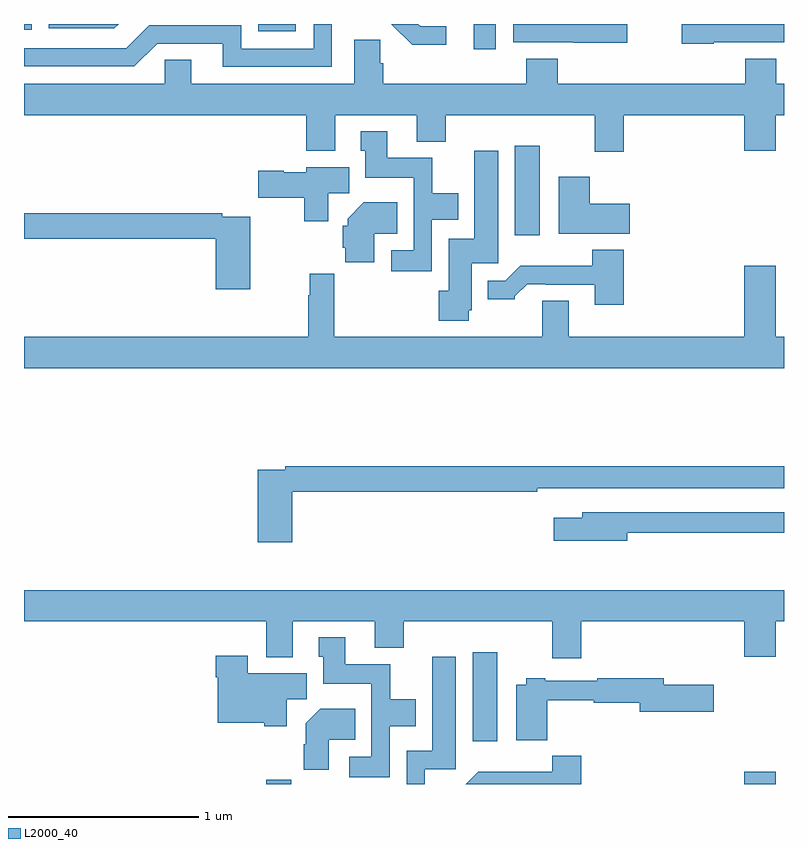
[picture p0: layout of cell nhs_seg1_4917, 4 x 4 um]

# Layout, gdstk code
import gdstk
lib = gdstk.Library(unit=1e-6, precision=1e-09)
def R(c, l, rs):  # rectangles x0, y0, x1, y1
    for r in rs: c.add(gdstk.rectangle(r[:2], r[2:], *l))
def P(c, l, *ps):  # polygons
    for p in ps: c.add(gdstk.Polygon(p, *l))
L2000_40 = (2000, 40)

nhs_seg1_4917 = lib.new_cell('nhs_seg1_4917')
R(nhs_seg1_4917, L2000_40, [(378.274,560.199,378.406,560.221), (380.792,560.199,380.956,560.263), (379.361,560.424,379.492,560.893), (379.583,563.088,379.714,563.557), (379.367,564.066,379.482,564.199), (378.232,564.161,378.43,564.199), (377,564.168,377.04,564.199)])
P(nhs_seg1_4917, L2000_40, [(379.222,564.186),(379.087,564.186),(379.074,564.199),(378.932,564.199),(379.043,564.089),(379.222,564.089)],
  [(380.631,564.102),(381,564.102),(381,564.199),(380.931,564.199),(380.931,564.198),(380.571,564.198),(380.571,564.199),(380.463,564.199),(380.463,564.095),(380.631,564.095)],
  [(380.176,564.199),(380.067,564.199),(380.067,564.198),(379.671,564.198),(379.671,564.199),(379.575,564.199),(379.575,564.102),(379.891,564.102),(379.891,564.101),(380.176,564.101)],
  [(378.621,564.199),(378.525,564.199),(378.525,564.069),(378.144,564.069),(378.144,564.192),(377.658,564.192),(377.538,564.072),(377,564.072),(377,563.976),(377.58,563.976),(377.7,564.096),(378.047,564.096),(378.047,563.973),(378.621,563.973)],
  [(377.498,564.199),(377.13,564.199),(377.13,564.177),(377.476,564.177)],
  [(380.156,563.72),(380.792,563.72),(380.792,563.532),(380.956,563.532),(380.956,563.72),(381,563.72),(381,563.884),(380.96,563.884),(380.96,564.017),(380.795,564.017),(380.795,563.884),(379.808,563.884),(379.808,564.017),(379.643,564.017),(379.643,563.884),(378.89,563.884),(378.89,563.993),(378.876,563.993),(378.876,564.116),(378.737,564.116),(378.737,563.884),(377.881,563.884),(377.881,564.011),(377.742,564.011),(377.742,563.884),(377,563.884),(377,563.72),(378.485,563.72),(378.485,563.531),(378.637,563.531),(378.637,563.72),(379.067,563.72),(379.067,563.579),(379.22,563.579),(379.22,563.72),(380.003,563.72),(380.003,563.526),(380.156,563.526)],
  [(379.146,563.168),(379.285,563.168),(379.285,563.308),(379.149,563.308),(379.149,563.494),(378.913,563.494),(378.913,563.635),(378.773,563.635),(378.773,563.532),(378.797,563.532),(378.797,563.39),(379.05,563.39),(379.05,563.007),(378.933,563.007),(378.933,562.899),(379.146,562.899)],
  [(379.341,562.692),(379.357,562.692),(379.357,562.941),(379.495,562.941),(379.495,563.533),(379.37,563.533),(379.37,563.068),(379.235,563.068),(379.235,562.794),(379.184,562.794),(379.184,562.638),(379.341,562.638)],
  [(378.601,563.308),(378.712,563.308),(378.712,563.446),(378.486,563.446),(378.486,563.419),(378.366,563.419),(378.366,563.427),(378.234,563.427),(378.234,563.285),(378.475,563.285),(378.475,563.16),(378.601,563.16)],
  [(380.188,563.254),(379.978,563.254),(379.978,563.395),(379.814,563.395),(379.814,563.096),(380.188,563.096)],
  [(378.844,563.096),(378.965,563.096),(378.965,563.26),(378.789,563.26),(378.704,563.175),(378.704,563.136),(378.678,563.136),(378.678,563.022),(378.692,563.022),(378.692,562.946),(378.844,562.946)],
  [(378.191,563.184),(378.044,563.184),(378.044,563.204),(377,563.204),(377,563.068),(378.008,563.068),(378.008,562.803),(378.191,562.803)],
  [(380.156,563.011),(379.991,563.011),(379.991,562.927),(379.612,562.927),(379.533,562.848),(379.442,562.848),(379.442,562.751),(379.584,562.751),(379.584,562.766),(379.648,562.83),(379.747,562.83),(379.747,562.827),(380.003,562.827),(380.003,562.722),(380.156,562.722)],
  [(381,562.552),(380.956,562.552),(380.956,562.927),(380.792,562.927),(380.792,562.552),(379.867,562.552),(379.867,562.742),(379.727,562.742),(379.727,562.552),(378.632,562.552),(378.632,562.885),(378.504,562.885),(378.504,562.772),(378.496,562.772),(378.496,562.552),(377,562.552),(377,562.388),(381,562.388)],
  [(378.413,561.736),(379.7,561.736),(379.7,561.756),(381,561.756),(381,561.872),(378.376,561.872),(378.376,561.852),(378.23,561.852),(378.23,561.471),(378.413,561.471)],
  [(380.176,561.522),(381,561.522),(381,561.63),(379.937,561.63),(379.937,561.601),(379.788,561.601),(379.788,561.479),(380.176,561.479)],
  [(379.934,561.056),(380.792,561.056),(380.792,560.868),(380.956,560.868),(380.956,561.056),(381,561.056),(381,561.22),(377,561.22),(377,561.056),(378.275,561.056),(378.275,560.867),(378.415,560.867),(378.415,561.056),(378.845,561.056),(378.845,560.915),(378.998,560.915),(378.998,561.056),(379.781,561.056),(379.781,560.862),(379.934,560.862)],
  [(378.924,560.504),(379.063,560.504),(379.063,560.644),(378.927,560.644),(378.927,560.83),(378.691,560.83),(378.691,560.971),(378.551,560.971),(378.551,560.868),(378.575,560.868),(378.575,560.726),(378.828,560.726),(378.828,560.343),(378.711,560.343),(378.711,560.235),(378.924,560.235)],
  [(378.382,560.644),(378.487,560.644),(378.487,560.782),(378.178,560.782),(378.178,560.875),(378.008,560.875),(378.008,560.762),(378.02,560.762),(378.02,560.522),(378.264,560.522),(378.264,560.504),(378.382,560.504)],
  [(379.11,560.277),(379.273,560.277),(379.273,560.869),(379.148,560.869),(379.148,560.374),(379.014,560.374),(379.014,560.199),(379.11,560.199)],
  [(379.754,560.641),(379.998,560.641),(379.998,560.626),(380.24,560.626),(380.24,560.579),(380.629,560.579),(380.629,560.721),(380.368,560.721),(380.368,560.755),(380.017,560.755),(380.017,560.742),(379.744,560.742),(379.744,560.755),(379.644,560.755),(379.644,560.722),(379.592,560.722),(379.592,560.429),(379.754,560.429)],
  [(378.604,560.432),(378.743,560.432),(378.743,560.596),(378.56,560.596),(378.482,560.518),(378.482,560.408),(378.473,560.408),(378.473,560.274),(378.604,560.274)],
  [(379.934,560.347),(379.779,560.347),(379.779,560.263),(379.39,560.263),(379.326,560.199),(379.934,560.199)])

lib.write_gds('nhs_seg1_4917.gds')
